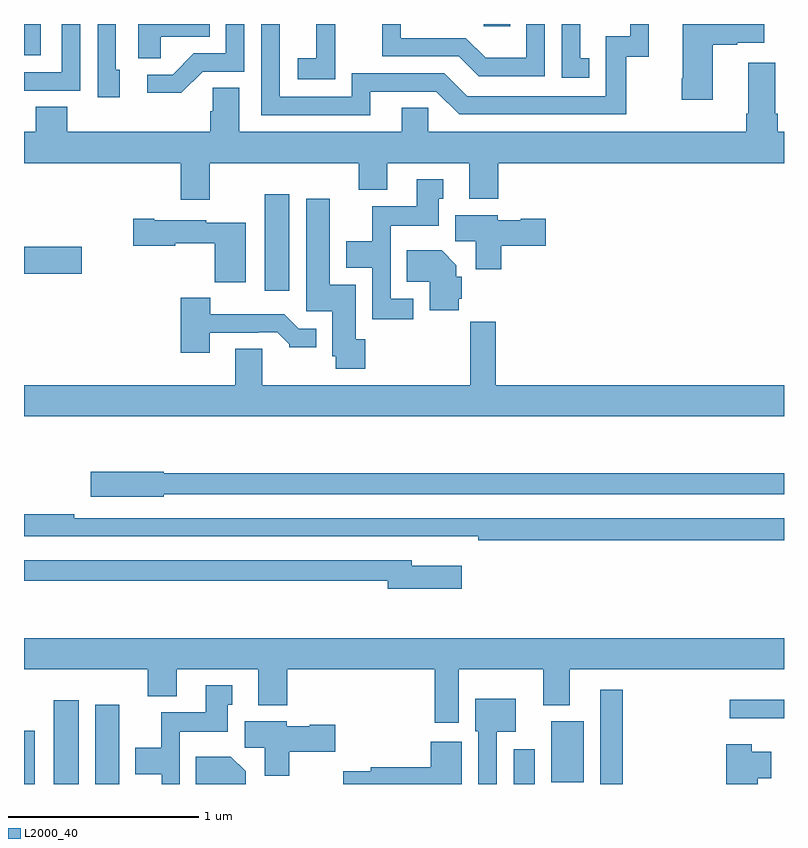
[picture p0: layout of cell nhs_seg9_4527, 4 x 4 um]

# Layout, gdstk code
import gdstk
lib = gdstk.Library(unit=1e-6, precision=1e-09)
def R(c, l, rs):  # rectangles x0, y0, x1, y1
    for r in rs: c.add(gdstk.rectangle(r[:2], r[2:], *l))
def P(c, l, *ps):  # polygons
    for p in ps: c.add(gdstk.Polygon(p, *l))
L2000_40 = (2000, 40)

nhs_seg9_4527 = lib.new_cell('nhs_seg9_4527')
R(nhs_seg9_4527, L2000_40, [(371,1178.5,371.056,1178.779), (371.156,1178.5,371.287,1178.941), (371.375,1178.5,371.5,1178.917), (373.577,1178.5,373.687,1178.683), (374.034,1178.5,374.15,1178.995), (373.775,1178.51,373.945,1178.83), (374.715,1178.846,375,1178.944), (372.266,1181.097,372.397,1181.605), (371,1181.186,371.305,1181.328), (371,1182.335,371.089,1182.5), (373.419,1182.489,373.559,1182.5)])
P(nhs_seg9_4527, L2000_40, [(371.295,1182.5),(371.199,1182.5),(371.199,1182.246),(371,1182.246),(371,1182.15),(371.295,1182.15)],
  [(371.94,1182.249),(372.159,1182.249),(372.159,1182.5),(372.063,1182.5),(372.063,1182.345),(371.894,1182.345),(371.783,1182.234),(371.649,1182.234),(371.649,1182.137),(371.827,1182.137)],
  [(372.639,1182.415),(372.638,1182.415),(372.638,1182.5),(372.539,1182.5),(372.539,1182.319),(372.441,1182.319),(372.441,1182.209),(372.639,1182.209)],
  [(373.74,1182.5),(373.644,1182.5),(373.644,1182.322),(373.43,1182.322),(373.326,1182.426),(372.984,1182.426),(372.984,1182.5),(372.886,1182.5),(372.886,1182.33),(373.289,1182.33),(373.394,1182.225),(373.74,1182.225)],
  [(371.721,1182.434),(371.978,1182.434),(371.978,1182.5),(371.6,1182.5),(371.6,1182.319),(371.721,1182.319)],
  [(374.626,1182.391),(374.753,1182.391),(374.753,1182.401),(374.896,1182.401),(374.896,1182.5),(374.468,1182.5),(374.468,1182.214),(374.461,1182.214),(374.461,1182.102),(374.626,1182.102)],
  [(371.503,1182.258),(371.484,1182.258),(371.484,1182.5),(371.388,1182.5),(371.388,1182.114),(371.503,1182.114)],
  [(372.823,1182.144),(373.17,1182.144),(373.29,1182.024),(374.17,1182.024),(374.17,1182.327),(374.288,1182.327),(374.288,1182.5),(374.19,1182.5),(374.19,1182.435),(374.061,1182.435),(374.061,1182.12),(373.332,1182.12),(373.212,1182.24),(372.726,1182.24),(372.726,1182.117),(372.345,1182.117),(372.345,1182.5),(372.249,1182.5),(372.249,1182.021),(372.823,1182.021)],
  [(373.976,1182.321),(373.927,1182.321),(373.927,1182.5),(373.83,1182.5),(373.83,1182.216),(373.976,1182.216)],
  [(371.977,1181.768),(372.761,1181.768),(372.761,1181.627),(372.913,1181.627),(372.913,1181.768),(373.343,1181.768),(373.343,1181.579),(373.496,1181.579),(373.496,1181.768),(375,1181.768),(375,1181.932),(374.966,1181.932),(374.966,1182.028),(374.953,1182.028),(374.953,1182.295),(374.813,1182.295),(374.813,1182.028),(374.801,1182.028),(374.801,1181.932),(373.128,1181.932),(373.128,1182.059),(372.989,1182.059),(372.989,1181.932),(372.133,1181.932),(372.133,1182.164),(371.994,1182.164),(371.994,1182.041),(371.981,1182.041),(371.981,1181.932),(371.228,1181.932),(371.228,1182.065),(371.063,1182.065),(371.063,1181.932),(371,1181.932),(371,1181.768),(371.825,1181.768),(371.825,1181.574),(371.977,1181.574)],
  [(373.048,1181.055),(372.93,1181.055),(372.93,1181.438),(373.183,1181.438),(373.183,1181.58),(373.207,1181.58),(373.207,1181.683),(373.067,1181.683),(373.067,1181.542),(372.832,1181.542),(372.832,1181.356),(372.695,1181.356),(372.695,1181.216),(372.834,1181.216),(372.834,1180.947),(373.048,1180.947)],
  [(372.797,1180.842),(372.745,1180.842),(372.745,1181.128),(372.61,1181.128),(372.61,1181.581),(372.485,1181.581),(372.485,1180.989),(372.623,1180.989),(372.623,1180.752),(372.64,1180.752),(372.64,1180.686),(372.797,1180.686)],
  [(373.511,1181.333),(373.747,1181.333),(373.747,1181.475),(373.614,1181.475),(373.614,1181.467),(373.494,1181.467),(373.494,1181.494),(373.271,1181.494),(373.271,1181.356),(373.377,1181.356),(373.377,1181.208),(373.511,1181.208)],
  [(372.166,1181.455),(371.958,1181.455),(371.958,1181.467),(371.686,1181.467),(371.686,1181.475),(371.574,1181.475),(371.574,1181.333),(371.796,1181.333),(371.796,1181.345),(372.004,1181.345),(372.004,1181.141),(372.166,1181.141)],
  [(373.289,1181.055),(373.305,1181.055),(373.305,1181.169),(373.276,1181.169),(373.276,1181.23),(373.198,1181.308),(373.015,1181.308),(373.015,1181.144),(373.136,1181.144),(373.136,1180.994),(373.289,1180.994)],
  [(371.977,1180.875),(372.233,1180.875),(372.233,1180.878),(372.332,1180.878),(372.396,1180.814),(372.396,1180.799),(372.538,1180.799),(372.538,1180.896),(372.447,1180.896),(372.371,1180.972),(371.98,1180.972),(371.98,1181.059),(371.825,1181.059),(371.825,1180.77),(371.977,1180.77)],
  [(375,1180.6),(373.484,1180.6),(373.484,1180.933),(373.348,1180.933),(373.348,1180.6),(372.253,1180.6),(372.253,1180.79),(372.113,1180.79),(372.113,1180.6),(371,1180.6),(371,1180.436),(375,1180.436)],
  [(371.736,1180.026),(375,1180.026),(375,1180.135),(371.736,1180.135),(371.736,1180.143),(371.352,1180.143),(371.352,1180.013),(371.736,1180.013)],
  [(375,1179.9),(371.264,1179.9),(371.264,1179.92),(371,1179.92),(371,1179.804),(373.138,1179.804),(373.138,1179.803),(373.39,1179.803),(373.39,1179.784),(375,1179.784)],
  [(373.303,1179.649),(373.042,1179.649),(373.042,1179.678),(371,1179.678),(371,1179.57),(372.914,1179.57),(372.914,1179.527),(373.303,1179.527)],
  [(371,1179.104),(371.651,1179.104),(371.651,1178.963),(371.803,1178.963),(371.803,1179.104),(372.233,1179.104),(372.233,1178.915),(372.386,1178.915),(372.386,1179.104),(373.163,1179.104),(373.163,1178.823),(373.288,1178.823),(373.288,1179.104),(373.733,1179.104),(373.733,1178.915),(373.873,1178.915),(373.873,1179.104),(375,1179.104),(375,1179.268),(371,1179.268)],
  [(371.82,1178.774),(372.073,1178.774),(372.073,1178.916),(372.097,1178.916),(372.097,1179.019),(371.957,1179.019),(371.957,1178.878),(371.722,1178.878),(371.722,1178.692),(371.585,1178.692),(371.585,1178.552),(371.724,1178.552),(371.724,1178.5),(371.82,1178.5)],
  [(373.488,1178.774),(373.588,1178.774),(373.588,1178.95),(373.376,1178.95),(373.376,1178.778),(373.392,1178.778),(373.392,1178.5),(373.488,1178.5)],
  [(372.396,1178.669),(372.637,1178.669),(372.637,1178.811),(372.504,1178.811),(372.504,1178.803),(372.384,1178.803),(372.384,1178.83),(372.161,1178.83),(372.161,1178.692),(372.266,1178.692),(372.266,1178.544),(372.396,1178.544)],
  [(373.303,1178.722),(373.142,1178.722),(373.142,1178.588),(372.826,1178.588),(372.826,1178.568),(372.68,1178.568),(372.68,1178.5),(373.303,1178.5)],
  [(374.863,1178.531),(374.932,1178.531),(374.932,1178.671),(374.83,1178.671),(374.83,1178.71),(374.696,1178.71),(374.696,1178.5),(374.863,1178.5)],
  [(372.166,1178.566),(372.088,1178.644),(371.905,1178.644),(371.905,1178.5),(372.166,1178.5)])

lib.write_gds('nhs_seg9_4527.gds')
